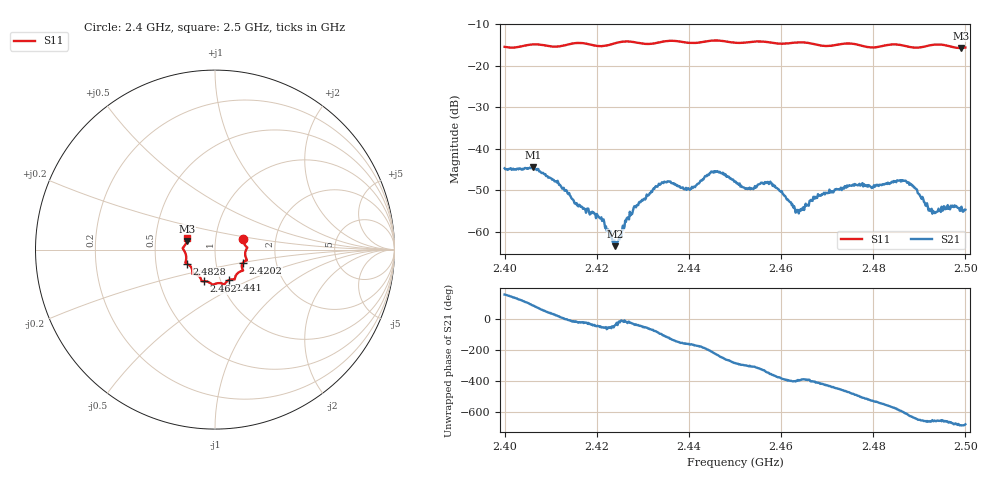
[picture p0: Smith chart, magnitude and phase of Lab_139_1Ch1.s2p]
# Hz S RI R 50
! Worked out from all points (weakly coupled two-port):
!   601 points, 2.4 GHz to 2.5 GHz, reference 50 ohm
!   highest |S21| = -44.44 dB at 2.4062 GHz (marker M1); lowest = -63.5 dB at 2.424 GHz (marker M2)
!   lowest |S11| = -15.8 dB at 2.499 GHz (marker M3), VSWR 1.39, Z = 36.4 + j3.6 ohm
!   |S11| at or under -10 dB: start of sweep to end of sweep
!   S12 and S22 are empty: the file has one direction only
!   S11 on the Smith chart (normalised r, x): 2.4 GHz: 1.36, +0.17; 2.4202 GHz: 1.35, -0.20; 2.441 GHz: 1.10, -0.39; 2.462 GHz: 0.83, -0.30; 2.4828 GHz: 0.72, -0.12; 2.5 GHz: 0.73, +0.09
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2.4e9  0.1568 0.0609  -0.00524 0.00251  0 0  0 0
2.406167e9  0.1795 0.0126  0.000609 0.00596  0 0  0 0
2.416667e9  0.1774 -0.0591  0.00183 -0.000826  0 0  0 0
2.420167e9  0.1567 -0.0719  0.00111 -0.00113  0 0  0 0
2.424e9  0.1521 -0.1071  0.000504 -0.000444  0 0  0 0
2.428333e9  0.1493 -0.1189  0.00154 -0.00132  0 0  0 0
2.433333e9  0.1128 -0.1521  3.03e-05 -0.00365  0 0  0 0
2.441e9  0.077 -0.1704  -0.0034 -0.000741  0 0  0 0
2.445333e9  0.0528 -0.1934  -0.00397 0.00328  0 0  0 0
2.45e9  0.0272 -0.1868  0.00104 0.00391  0 0  0 0
2.452833e9  0.000602 -0.1911  0.00185 0.00275  0 0  0 0
2.4575e9  -0.022 -0.1892  0.00378 0.000352  0 0  0 0
2.462e9  -0.0616 -0.176  0.00174 -0.00146  0 0  0 0
2.463667e9  -0.0719 -0.1765  0.00153 -0.00102  0 0  0 0
2.466667e9  -0.0773 -0.1672  0.00178 -0.00154  0 0  0 0
2.474333e9  -0.1255 -0.1355  -0.00121 -0.00341  0 0  0 0
2.482833e9  -0.1581 -0.0776  -0.00369 0.000937  0 0  0 0
2.483333e9  -0.1608 -0.0764  -0.0036 0.00133  0 0  0 0
2.488167e9  -0.16 -0.0464  -0.000256 0.0037  0 0  0 0
2.493e9  -0.178 0.00366  0.000851 0.00157  0 0  0 0
2.499e9  -0.1555 0.0481  0.00158 0.00117  0 0  0 0
2.5e9  -0.1533 0.0621  0.00138 0.00123  0 0  0 0
